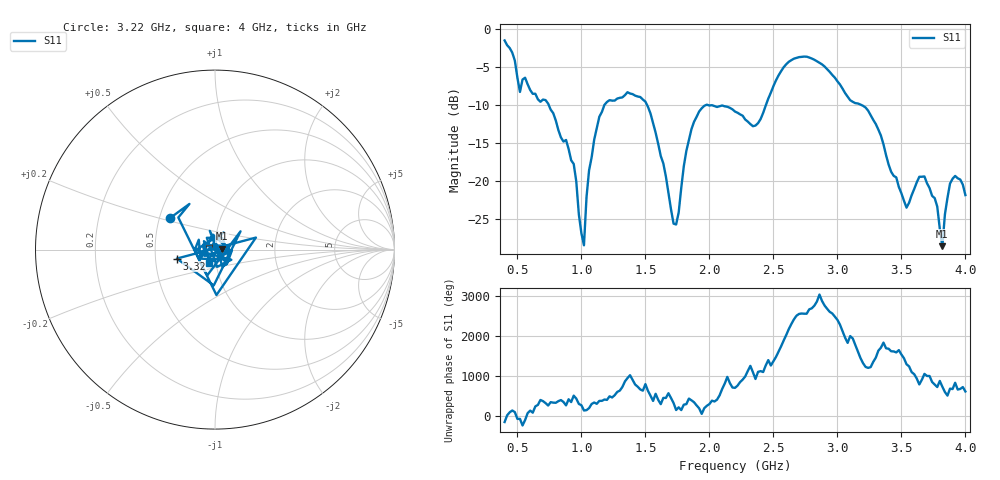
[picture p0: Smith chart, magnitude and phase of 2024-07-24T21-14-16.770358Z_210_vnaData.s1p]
!Created with skrf (http://scikit-rf.org).
# Hz S RI R 50.0
!freq ReS11 ImS11
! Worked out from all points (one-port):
!   181 points, 400 MHz to 4 GHz, reference 50 ohm
!   lowest |S11| = -28.6 dB at 3.82 GHz (marker M1), VSWR 1.08, Z = 53.8 + j0.462 ohm
!   |S11| at or under -10 dB: 745.6 MHz to 1.179 GHz (433.1 MHz wide, 45 % of centre); 1.514 GHz to 1.97 GHz (455.7 MHz wide, 26.2 % of centre); 3.192 GHz to end of sweep (the widest 3 of 5)
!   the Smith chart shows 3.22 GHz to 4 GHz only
!   S11 on the Smith chart (normalised r, x): 3.22 GHz: 0.57, +0.22; 3.32 GHz: 0.65, -0.07; 4 GHz: 0.93, -0.14
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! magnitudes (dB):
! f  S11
! 400 MHz  -1.5
! 520 MHz  -8.2
! 560 MHz  -6.4
! 720 MHz  -9.3
! 860 MHz  -14.8
! 940 MHz  -17.7
! 1.02 GHz  -28.5
! 1.06 GHz  -18.6
! 1.14 GHz  -11.5
! 1.3 GHz  -9.0
! 1.5 GHz  -9.5
! 1.64 GHz  -17.7
! 1.72 GHz  -25.6
! 1.76 GHz  -24.1
! 1.82 GHz  -16.0
! 1.92 GHz  -10.8
! 2.2 GHz  -10.8
! 2.36 GHz  -12.7
! 2.66 GHz  -3.9
! 3.1 GHz  -9.3
! 3.22 GHz  -10.3
! 3.32 GHz  -13.2
! 3.56 GHz  -22.8
! 3.68 GHz  -19.4
! 3.78 GHz  -23.3
! 3.82 GHz  -28.6
! 3.88 GHz  -20.3
! 4 GHz  -21.8
